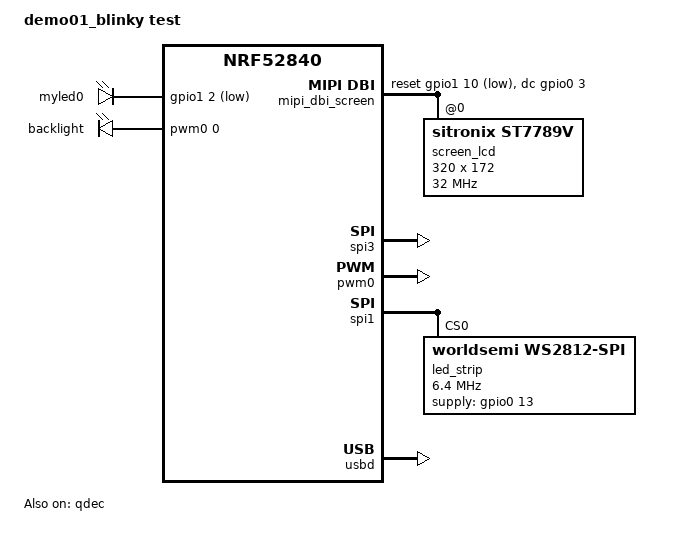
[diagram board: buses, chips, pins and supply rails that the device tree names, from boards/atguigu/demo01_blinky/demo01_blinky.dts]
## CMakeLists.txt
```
# SPDX-License-Identifier: Apache-2.0
cmake_minimum_required(VERSION 3.20.0)

find_package(Zephyr REQUIRED HINTS $ENV{ZEPHYR_BASE})
project(wireless_ecu_console)

target_sources(app PRIVATE
    src/main.c
    src/vehicle_protocol.c
    src/usb_cdc_transport.c
    src/ble_nus_transport.c
)

target_include_directories(app PRIVATE src)
```

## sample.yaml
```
sample:
  name: Wireless ECU Console
  description: nRF52840 vehicle-status console with BLE NUS and USB CDC

tests:
  sample.wireless_ecu_console:
    tags:
      - bluetooth
      - display
      - gpio
      - sensor
    platform_allow:
      - demo01_blinky/nrf52840
    build_only: true
```

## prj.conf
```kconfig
CONFIG_GPIO=y

# SEGGER RTT console
CONFIG_CONSOLE=y
CONFIG_USE_SEGGER_RTT=y
CONFIG_RTT_CONSOLE=y
CONFIG_UART_CONSOLE=n
CONFIG_STDOUT_CONSOLE=y
CONFIG_PRINTK=y

# EC11 hardware quadrature decoder
CONFIG_SENSOR=y
CONFIG_QDEC_NRFX=y
CONFIG_NRFX_QDEC=y

# ST7789 display and PWM backlight
CONFIG_SPI=y
CONFIG_DISPLAY=y
CONFIG_ST7789V=y
CONFIG_ST7789V_RGB565=y
CONFIG_PWM=y
CONFIG_LED=y

# LVGL dashboard
CONFIG_LVGL=y
CONFIG_LV_COLOR_DEPTH_16=y
CONFIG_LV_COLOR_16_SWAP=y
CONFIG_LV_Z_VDB_SIZE=10
CONFIG_LV_USE_LABEL=y
CONFIG_LV_FONT_MONTSERRAT_14=y
CONFIG_LV_FONT_MONTSERRAT_20=y
CONFIG_LV_FONT_MONTSERRAT_28=y
CONFIG_MAIN_STACK_SIZE=4096
CONFIG_LV_Z_MEM_POOL_SIZE=32768

# WS2812 status strip
CONFIG_LED_STRIP=y
CONFIG_WS2812_STRIP_SPI=y

# USB CDC binary transport
CONFIG_USB_DEVICE_STACK_NEXT=y
CONFIG_SERIAL=y
CONFIG_UART_LINE_CTRL=y
CONFIG_USBD_CDC_ACM_CLASS=y
CONFIG_CDC_ACM_SERIAL_INITIALIZE_AT_BOOT=n

# BLE Nordic UART Service
CONFIG_BT=y
CONFIG_BT_PERIPHERAL=y
CONFIG_BT_ZEPHYR_NUS=y
CONFIG_BT_DEVICE_NAME="Wireless ECU Console"
CONFIG_BT_MAX_CONN=1
CONFIG_BT_ATT_TX_COUNT=5
CONFIG_BT_L2CAP_TX_MTU=65
CONFIG_BT_BUF_ACL_RX_SIZE=69
CONFIG_BT_BUF_ACL_TX_SIZE=69
```

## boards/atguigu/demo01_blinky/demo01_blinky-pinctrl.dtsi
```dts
&pinctrl {
	/* EC11 QDEC：A=P0.10，B=P1.06。 */
	encoder_default: encoder_default {
		group1 {
			psels = <NRF_PSEL(QDEC_A, 0, 10)>,
				<NRF_PSEL(QDEC_B, 1, 6)>;
			bias-pull-up;
		};
	};

	encoder_sleep: encoder_sleep {
		group1 {
			psels = <NRF_PSEL(QDEC_A, 0, 10)>,
				<NRF_PSEL(QDEC_B, 1, 6)>;
			low-power-enable;
			bias-pull-up;
		};
	};
    
		spi1_ws2812_default: spi1_ws2812_default {
		group1 {
			psels = <NRF_PSEL(SPIM_SCK, 1, 4)>,
				<NRF_PSEL(SPIM_MOSI, 0, 20)>;
		};
	};

	spi1_ws2812_sleep: spi1_ws2812_sleep {
		group1 {
			psels = <NRF_PSEL(SPIM_SCK, 1, 4)>,
				<NRF_PSEL(SPIM_MOSI, 0, 20)>;
			low-power-enable;
		};
	};
	/* ST7789 SPI3：SCK=P1.13，MOSI=P0.28。 */
	spi3_default: spi3_default {
		group1 {
			psels = <NRF_PSEL(SPIM_SCK, 1, 13)>,
				<NRF_PSEL(SPIM_MOSI, 0, 28)>;
		};
	};

	spi3_sleep: spi3_sleep {
		group1 {
			psels = <NRF_PSEL(SPIM_SCK, 1, 13)>,
				<NRF_PSEL(SPIM_MOSI, 0, 28)>;
			low-power-enable;
		};
	};

	/* LCD背光 PWM0：PWM_OUT0=P1.11。 */
	pwm0_default: pwm0_default {
		group1 {
			psels = <NRF_PSEL(PWM_OUT0, 1, 11)>;
		};
	};

	pwm0_sleep: pwm0_sleep {
		group1 {
			psels = <NRF_PSEL(PWM_OUT0, 1, 11)>;
			low-power-enable;
		};
	};
};
```

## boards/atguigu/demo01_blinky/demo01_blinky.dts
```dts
/dts-v1/;
#include <nordic/nrf52840_qiaa.dtsi>
#include "demo01_blinky-pinctrl.dtsi"
#include <zephyr/dt-bindings/mipi_dbi/mipi_dbi.h>
#include <zephyr/dt-bindings/pwm/pwm.h>
#include <zephyr/dt-bindings/led/led.h>

/ {
	model = "demo01_blinky test";
	compatible = "atguigu,demo01-blinky";

	chosen {
		zephyr,sram = &sram0;
		zephyr,flash = &flash0;
		zephyr,code-partition = &slot0_partition;
		zephyr,display = &screen_lcd;
		zephyr,led-strip = &led_strip;
	};

	// LED
	aliases {
		led0 = &myled0;
		qdec0 = &qdec;
		backlight = &backlight;
		led-strip = &led_strip;
	};

	leds {
		compatible = "gpio-leds";

		// GPIO 1.02 拉低有效
		// myled0: label标签
		myled0: led_0 {
			gpios = <&gpio1 2 GPIO_ACTIVE_LOW>;
		};

  	};
		pwm_leds {
		compatible = "pwm-leds";
		status = "okay";

		backlight: pwm_led_0 {
			pwms = <&pwm0 0 PWM_MSEC(10)
				PWM_POLARITY_INVERTED>;
		};
	};

	mipi_dbi_screen: mipi_dbi_screen {
		compatible = "zephyr,mipi-dbi-spi";
		spi-dev = <&spi3>;
		dc-gpios = <&gpio0 3 GPIO_ACTIVE_HIGH>;
		reset-gpios = <&gpio1 10 GPIO_ACTIVE_LOW>;
		write-only;
		#address-cells = <1>;
		#size-cells = <0>;

		screen_lcd: st7789v@0 {
			compatible = "sitronix,st7789v";
			status = "okay";
			reg = <0>;
			mipi-max-frequency = <32000000>;

			width = <320>;
			height = <172>;
			x-offset = <0>;
			y-offset = <34>;

			vcom = <0x34>;
			gctrl = <0x00>;
			mdac = <0xA0>;
			gamma = <0x01>;
			colmod = <0x05>;
			lcm = <0x2c>;

			porch-param = [0c 0c 00 33 33];
			cmd2en-param = [5a 69 02 01];
			pwctrl1-param = [a4 a1];
			pvgam-param =
				[f0 04 08 0a 0a 05 25 33
				 3c 24 0e 0f 27 2f];
			nvgam-param =
				[f0 02 06 06 04 22 25 32
				 3b 3a 15 17 2d 37];
			ram-param = [00 f0];
			rgb-param = [cd 08 14];

			ready-time-ms = <120>;
			mipi-mode = "MIPI_DBI_MODE_SPI_4WIRE";
		};
	};
};

&flash0 {
	partitions {
		compatible = "fixed-partitions";
		#address-cells = <1>;
		#size-cells = <1>;

		boot_partition: partition@0 {
			label = "mcuboot";
			reg = <0x00000000 DT_SIZE_K(48)>;
		};

		slot0_partition: partition@c000 {
			label = "image-0";
			reg = <0x0000c000 DT_SIZE_K(472)>;
		};

		slot1_partition: partition@82000 {
			label = "image-1";
			reg = <0x00082000 DT_SIZE_K(472)>;
		};

		storage_partition: partition@f8000 {
			label = "storage";
			reg = <0x000f8000 DT_SIZE_K(32)>;
		};
	};
};
// 开启GPIO外设
&gpio1 {
	status = "okay";
};
// task event
&gpiote {
	status = "okay";
};
&qdec {
	status = "okay";

	pinctrl-0 = <&encoder_default>;
	pinctrl-1 = <&encoder_sleep>;
	pinctrl-names = "default", "sleep";

	led-pre = <0>;
	steps = <80>;
	nordic,period = "SAMPLEPER_1024US";
};
&uicr {
	nfct-pins-as-gpios;
};
/* 开启 P0.xx GPIO，用于键盘矩阵 */
&gpio0 {
	status = "okay";
};
&spi3 {
	status = "okay";
	pinctrl-0 = <&spi3_default>;
	pinctrl-1 = <&spi3_sleep>;
	pinctrl-names = "default", "sleep";
	cs-gpios = <&gpio0 2 GPIO_ACTIVE_LOW>;
};

&pwm0 {
	status = "okay";
	pinctrl-0 = <&pwm0_default>;
	pinctrl-1 = <&pwm0_sleep>;
	pinctrl-names = "default", "sleep";
};
&spi1 {
	status = "okay";

	pinctrl-0 = <&spi1_ws2812_default>;
	pinctrl-1 = <&spi1_ws2812_sleep>;
	pinctrl-names = "default", "sleep";

	led_strip: ws2812@0 {
		compatible = "worldsemi,ws2812-spi";
		status = "okay";
		reg = <0>;

		spi-max-frequency = <6400000>;
		chain-length = <17>;

		color-mapping = <LED_COLOR_ID_GREEN
				 LED_COLOR_ID_RED
				 LED_COLOR_ID_BLUE>;

		spi-one-frame = <0x70>;
		spi-zero-frame = <0x40>;
		bits-per-symbol = <8>;
		reset-delay = <8>;

		supply-gpios = <&gpio0 13 GPIO_ACTIVE_HIGH>;
	};
};
/* M5.2：USB CDC虚拟串口 */
&usbd {
	status = "okay";

	num-bidir-endpoints = <1>;
	num-in-endpoints = <7>;
	num-out-endpoints = <7>;
	num-isoin-endpoints = <0>;
	num-isoout-endpoints = <0>;

	cdc_acm_uart0: cdc_acm_uart0 {
		compatible = "zephyr,cdc-acm-uart";
		label = "CDC_ACM_0";
	};
};
```

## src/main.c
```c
#include <zephyr/kernel.h>
#include <zephyr/device.h>
#include <zephyr/drivers/display.h>
#include <zephyr/drivers/gpio.h>
#include <zephyr/drivers/led.h>
#include <zephyr/drivers/led_strip.h>
#include <zephyr/drivers/sensor.h>
#include <zephyr/sys/printk.h>

#include <lvgl.h>

#include <errno.h>
#include <stdbool.h>
#include <stddef.h>
#include <stdint.h>
#include <stdio.h>
#include <string.h>

#include "vehicle_protocol.h"
#include "usb_cdc_transport.h"
#include "ble_nus_transport.h"

#define LED0_NODE DT_ALIAS(led0)
#define QDEC_NODE DT_ALIAS(qdec0)
#define GPIO0_NODE DT_NODELABEL(gpio0)
#define DISPLAY_NODE DT_CHOSEN(zephyr_display)
#define BACKLIGHT_NODE DT_ALIAS(backlight)
#define LED_STRIP_NODE DT_CHOSEN(zephyr_led_strip)
#define LED_STRIP_NUM_PIXELS DT_PROP(LED_STRIP_NODE, chain_length)

#define HIGH_RPM_THRESHOLD      5000U
#define OVER_TEMP_THRESHOLD     100

#define RPM_STEP                100
#define RPM_MIN                 0
#define RPM_MAX                 8000

#define TEMP_STEP               5
#define TEMP_MIN                (-40)
#define TEMP_MAX                150

#define ENCODER_STEPS_PER_REV   80LL
#define PULSES_PER_DETENT       4LL

#define DETENT_ANGLE_UDEG \
	(360000000LL / (ENCODER_STEPS_PER_REV / PULSES_PER_DETENT))

/* 键盘矩阵：当前控制功能都位于COL3。 */
#define MATRIX_COL3_PIN          30U
#define ENCODER_BUTTON_ROW_PIN   15U
#define TEMP_MINUS_ROW_PIN        7U
#define TEMP_PLUS_ROW_PIN         4U

#define KEY_DEBOUNCE_MS          30
#define MAIN_LOOP_PERIOD_MS      10
#define HEARTBEAT_PERIOD_MS      500
#define PROTOCOL_HEARTBEAT_MS    500

/* M4.2灯效参数：亮度较低，兼顾观感和供电余量。 */
#define STRIP_NORMAL_BRIGHTNESS   28U
#define STRIP_WARNING_BRIGHTNESS  32U
#define STRIP_CRITICAL_BRIGHTNESS 40U
#define STRIP_BREATH_MIN           4U
#define STRIP_BREATH_MAX          36U
#define STRIP_BREATH_STEP          1U
#define STRIP_BREATH_TICK_MS       40
#define STRIP_CRITICAL_BLINK_MS   250

BUILD_ASSERT(DT_NODE_HAS_STATUS(QDEC_NODE, okay),
	     "QDEC node is missing or disabled");
BUILD_ASSERT(DT_NODE_HAS_STATUS(GPIO0_NODE, okay),
	     "GPIO0 node is missing or disabled");
BUILD_ASSERT(DT_HAS_CHOSEN(zephyr_display),
	     "Missing zephyr,display chosen node");
BUILD_ASSERT(DT_NODE_HAS_STATUS(BACKLIGHT_NODE, okay),
	     "Backlight node is missing or disabled");
BUILD_ASSERT(DT_NODE_HAS_STATUS(LED_STRIP_NODE, okay),
	     "Missing zephyr,led-strip chosen node");
BUILD_ASSERT(DT_NODE_HAS_PROP(LED_STRIP_NODE, supply_gpios),
	     "Missing supply-gpios on LED strip node");
BUILD_ASSERT(LED_STRIP_NUM_PIXELS == 17U,
	     "This application expects 17 WS2812 pixels");

static const struct gpio_dt_spec led =
	GPIO_DT_SPEC_GET(LED0_NODE, gpios);

static const struct device *const qdec =
	DEVICE_DT_GET(QDEC_NODE);

static const struct device *const gpio0 =
	DEVICE_DT_GET(GPIO0_NODE);

static const struct device *const display_dev =
	DEVICE_DT_GET(DISPLAY_NODE);

static const struct device *const backlight_dev =
	DEVICE_DT_GET(DT_PARENT(BACKLIGHT_NODE));

static const uint32_t backlight_index =
	DT_NODE_CHILD_IDX(BACKLIGHT_NODE);

static const struct device *const led_strip_dev =
	DEVICE_DT_GET(LED_STRIP_NODE);

static const struct gpio_dt_spec led_strip_en =
	GPIO_DT_SPEC_GET(LED_STRIP_NODE, supply_gpios);

static struct led_rgb led_strip_pixels[LED_STRIP_NUM_PIXELS];

enum vehicle_state {
	VEHICLE_NORMAL,
	VEHICLE_HIGH_RPM,
	VEHICLE_OVER_TEMP,
	VEHICLE_CRITICAL
};

struct led_effect_state {
	enum vehicle_state vehicle_state;
	int64_t last_tick_ms;
	uint8_t breath_brightness;
	int8_t breath_direction;
	bool critical_on;
	bool initialized;
};

static struct led_effect_state led_effect;

struct vehicle_data {
	uint16_t rpm;
	int16_t temperature_c;
	bool fault_active;
	enum vehicle_state state;
};

enum console_key_id {
	CONSOLE_KEY_ENCODER,
	CONSOLE_KEY_TEMP_MINUS,
	CONSOLE_KEY_TEMP_PLUS,
	CONSOLE_KEY_COUNT
};

struct console_key {
	const char *name;
	gpio_pin_t row_pin;
	bool raw_pressed;
	bool stable_pressed;
	int64_t raw_changed_ms;
};

struct dashboard_ui {
	lv_obj_t *rpm_value;
	lv_obj_t *temp_value;
	lv_obj_t *state_panel;
	lv_obj_t *state_value;
	lv_obj_t *fault_value;
};

static struct console_key console_keys[CONSOLE_KEY_COUNT] = {
	[CONSOLE_KEY_ENCODER] = {
		.name = "ENCODER_BUTTON",
		.row_pin = ENCODER_BUTTON_ROW_PIN,
	},
	[CONSOLE_KEY_TEMP_MINUS] = {
		.name = "TEMP_MINUS",
		.row_pin = TEMP_MINUS_ROW_PIN,
	},
	[CONSOLE_KEY_TEMP_PLUS] = {
		.name = "TEMP_PLUS",
		.row_pin = TEMP_PLUS_ROW_PIN,
	},
};

static struct dashboard_ui dashboard;

static enum vehicle_state evaluate_vehicle_state(
	const struct vehicle_data *vehicle)
{
	bool high_rpm = vehicle->rpm >= HIGH_RPM_THRESHOLD;
	bool over_temp =
		vehicle->temperature_c >= OVER_TEMP_THRESHOLD;

	if (vehicle->fault_active || (high_rpm && over_temp)) {
		return VEHICLE_CRITICAL;
	}

	if (high_rpm) {
		return VEHICLE_HIGH_RPM;
	}

	if (over_temp) {
		return VEHICLE_OVER_TEMP;
	}

	return VEHICLE_NORMAL;
}

static const char *vehicle_state_to_string(enum vehicle_state state)
{
	switch (state) {
	case VEHICLE_NORMAL:
		return "NORMAL";
	case VEHICLE_HIGH_RPM:
		return "HIGH RPM";
	case VEHICLE_OVER_TEMP:
		return "OVER TEMP";
	case VEHICLE_CRITICAL:
		return "CRITICAL";
	default:
		return "UNKNOWN";
	}
}

static void print_vehicle_status(
	const char *source,
	const struct vehicle_data *vehicle)
{
	printk("%s | RPM: %u | TEMP: %d C | FAULT: %d | STATE: %s\n",
	       source,
	       (unsigned int)vehicle->rpm,
	       (int)vehicle->temperature_c,
	       vehicle->fault_active ? 1 : 0,
	       vehicle_state_to_string(vehicle->state));
}

static int64_t sensor_value_to_udeg(
	const struct sensor_value *value)
{
	return ((int64_t)value->val1 * 1000000LL) + value->val2;
}

static uint16_t clamp_rpm(int32_t rpm)
{
	if (rpm < RPM_MIN) {
		return RPM_MIN;
	}

	if (rpm > RPM_MAX) {
		return RPM_MAX;
	}

	return (uint16_t)rpm;
}

static int16_t clamp_temperature(int32_t temperature)
{
	if (temperature < TEMP_MIN) {
		return TEMP_MIN;
	}

	if (temperature > TEMP_MAX) {
		return TEMP_MAX;
	}

	return (int16_t)temperature;
}

static int console_keys_init(void)
{
	int ret;

	if (!device_is_ready(gpio0)) {
		printk("ERROR: GPIO0 device is not ready\n");
		return -ENODEV;
	}

	ret = gpio_pin_configure(
		gpio0,
		MATRIX_COL3_PIN,
		GPIO_OUTPUT_HIGH);

	if (ret < 0) {
		printk("ERROR: COL3 configuration failed: %d\n", ret);
		return ret;
	}

	for (size_t i = 0; i < CONSOLE_KEY_COUNT; i++) {
		ret = gpio_pin_configure(
			gpio0,
			console_keys[i].row_pin,
			GPIO_INPUT | GPIO_PULL_DOWN);

		if (ret < 0) {
			printk("ERROR: %s configuration failed: %d\n",
			       console_keys[i].name,
			       ret);
			return ret;
		}
	}

	printk("MATRIX ready: ENCODER_BUTTON / TEMP_MINUS / TEMP_PLUS\n");
	return 0;
}

static bool console_key_pressed_event(
	struct console_key *key,
	int64_t now_ms)
{
	int value = gpio_pin_get(gpio0, key->row_pin);
	bool pressed;

	if (value < 0) {
		return false;
	}

	pressed = value != 0;

	if (pressed != key->raw_pressed) {
		key->raw_pressed = pressed;
		key->raw_changed_ms = now_ms;
	}

	if ((pressed != key->stable_pressed) &&
	    ((now_ms - key->raw_changed_ms) >= KEY_DEBOUNCE_MS)) {
		key->stable_pressed = pressed;
		return pressed;
	}

	return false;
}

static int led_strip_show_rgb(uint8_t red, uint8_t green, uint8_t blue)
{
	for (size_t i = 0; i < LED_STRIP_NUM_PIXELS; i++) {
		led_strip_pixels[i].r = red;
		led_strip_pixels[i].g = green;
		led_strip_pixels[i].b = blue;
	}

	return led_strip_update_rgb(
		led_strip_dev,
		led_strip_pixels,
		LED_STRIP_NUM_PIXELS);
}

static int led_strip_render_state(enum vehicle_state state)
{
	switch (state) {
	case VEHICLE_NORMAL:
		return led_strip_show_rgb(
			0,
			STRIP_NORMAL_BRIGHTNESS,
			0);

	case VEHICLE_HIGH_RPM:
		return led_strip_show_rgb(
			STRIP_WARNING_BRIGHTNESS,
			STRIP_WARNING_BRIGHTNESS,
			0);

	case VEHICLE_OVER_TEMP:
		/* 橙色：红色为主，绿色约为三分之一。 */
		return led_strip_show_rgb(
			led_effect.breath_brightness,
			led_effect.breath_brightness / 3U,
			0);

	case VEHICLE_CRITICAL:
		if (led_effect.critical_on) {
			return led_strip_show_rgb(
				STRIP_CRITICAL_BRIGHTNESS,
				0,
				0);
		}

		return led_strip_show_rgb(0, 0, 0);

	default:
		return -EINVAL;
	}
}

static int led_strip_set_vehicle_state(
	enum vehicle_state state,
	int64_t now_ms)
{
	int ret;

	led_effect.vehicle_state = state;
	led_effect.last_tick_ms = now_ms;
	led_effect.breath_brightness = STRIP_BREATH_MIN;
	led_effect.breath_direction = 1;
	led_effect.critical_on = true;
	led_effect.initialized = true;

	ret = led_strip_render_state(state);
	if (ret == 0) {
		printk("LED EFFECT: %s\n", vehicle_state_to_string(state));
	}

	return ret;
}

static int led_strip_effect_tick(int64_t now_ms)
{
	int ret = 0;

	if (!led_effect.initialized) {
		return -EACCES;
	}

	switch (led_effect.vehicle_state) {
	case VEHICLE_NORMAL:
	case VEHICLE_HIGH_RPM:
		/* 常亮状态无需周期刷新。 */
		break;

	case VEHICLE_OVER_TEMP:
		if ((now_ms - led_effect.last_tick_ms) >=
		    STRIP_BREATH_TICK_MS) {
			int16_t next_brightness =
				(int16_t)led_effect.breath_brightness +
				((int16_t)led_effect.breath_direction *
				 (int16_t)STRIP_BREATH_STEP);

			if (next_brightness >=
			    (int16_t)STRIP_BREATH_MAX) {
				next_brightness = STRIP_BREATH_MAX;
				led_effect.breath_direction = -1;
			} else if (next_brightness <=
				   (int16_t)STRIP_BREATH_MIN) {
				next_brightness = STRIP_BREATH_MIN;
				led_effect.breath_direction = 1;
			}

			led_effect.breath_brightness =
				(uint8_t)next_brightness;
			ret = led_strip_render_state(VEHICLE_OVER_TEMP);
			led_effect.last_tick_ms = now_ms;
		}
		break;

	case VEHICLE_CRITICAL:
		if ((now_ms - led_effect.last_tick_ms) >=
		    STRIP_CRITICAL_BLINK_MS) {
			led_effect.critical_on = !led_effect.critical_on;
			ret = led_strip_render_state(VEHICLE_CRITICAL);
			led_effect.last_tick_ms = now_ms;
		}
		break;

	default:
		ret = -EINVAL;
		break;
	}

	return ret;
}

static int led_strip_effect_init(enum vehicle_state initial_state)
{
	int ret;

	if (!device_is_ready(led_strip_dev)) {
		printk("ERROR: LED strip device is not ready\n");
		return -ENODEV;
	}

	if (!gpio_is_ready_dt(&led_strip_en)) {
		printk("ERROR: LED strip power GPIO is not ready\n");
		return -ENODEV;
	}

	ret = gpio_pin_configure_dt(&led_strip_en, GPIO_OUTPUT_INACTIVE);
	if (ret < 0) {
		printk("ERROR: LED strip power GPIO configuration failed: %d\n",
		       ret);
		return ret;
	}

	memset(led_strip_pixels, 0, sizeof(led_strip_pixels));

	ret = gpio_pin_set_dt(&led_strip_en, 1);
	if (ret < 0) {
		printk("ERROR: LED strip power enable failed: %d\n", ret);
		return ret;
	}

	/* 给灯带电源留出稳定时间。 */
	k_sleep(K_MSEC(5));

	memset(&led_effect, 0, sizeof(led_effect));
	ret = led_strip_set_vehicle_state(
		initial_state,
		k_uptime_get());
	if (ret < 0) {
		printk("ERROR: Initial LED effect update failed: %d\n", ret);
		return ret;
	}

	printk("LED STRIP ready: %u pixels\n",
	       (unsigned int)LED_STRIP_NUM_PIXELS);
	return 0;
}

static void dashboard_style_panel(lv_obj_t *panel)
{
	lv_obj_set_style_bg_color(
		panel, lv_color_hex(0x172033), LV_PART_MAIN);
	lv_obj_set_style_bg_opa(panel, LV_OPA_COVER, LV_PART_MAIN);
	lv_obj_set_style_border_color(
		panel, lv_color_hex(0x34415C), LV_PART_MAIN);
	lv_obj_set_style_border_width(panel, 1, LV_PART_MAIN);
	lv_obj_set_style_radius(panel, 8, LV_PART_MAIN);
	lv_obj_set_style_pad_all(panel, 0, LV_PART_MAIN);
	lv_obj_remove_flag(panel, LV_OBJ_FLAG_SCROLLABLE);
}

static lv_obj_t *dashboard_create_caption(
	lv_obj_t *parent,
	const char *text)
{
	lv_obj_t *label = lv_label_create(parent);

	lv_label_set_text(label, text);
	lv_obj_set_style_text_color(
		label, lv_color_hex(0x8FA2BF), LV_PART_MAIN);
	lv_obj_set_style_text_font(
		label, &lv_font_montserrat_14, LV_PART_MAIN);
	lv_obj_set_pos(label, 10, 7);

	return label;
}

static void dashboard_update(const struct vehicle_data *vehicle)
{
	char rpm_text[24];
	char temp_text[24];
	char fault_text[24];
	lv_color_t state_color;
	lv_color_t state_text_color;

	snprintf(rpm_text, sizeof(rpm_text), "%u RPM",
		 (unsigned int)vehicle->rpm);
	snprintf(temp_text, sizeof(temp_text), "%d C",
		 (int)vehicle->temperature_c);
	snprintf(fault_text, sizeof(fault_text), "FAULT: %s",
		 vehicle->fault_active ? "ON" : "OFF");

	lv_label_set_text(dashboard.rpm_value, rpm_text);
	lv_label_set_text(dashboard.temp_value, temp_text);
	lv_label_set_text(
		dashboard.state_value,
		vehicle_state_to_string(vehicle->state));
	lv_label_set_text(dashboard.fault_value, fault_text);

	switch (vehicle->state) {
	case VEHICLE_NORMAL:
		state_color = lv_color_hex(0x159A55);
		state_text_color = lv_color_hex(0xFFFFFF);
		break;
	case VEHICLE_HIGH_RPM:
		state_color = lv_color_hex(0xF2C230);
		state_text_color = lv_color_hex(0x111827);
		break;
	case VEHICLE_OVER_TEMP:
		state_color = lv_color_hex(0xF07A28);
		state_text_color = lv_color_hex(0x111827);
		break;
	case VEHICLE_CRITICAL:
	default:
		state_color = lv_color_hex(0xD9363E);
		state_text_color = lv_color_hex(0xFFFFFF);
		break;
	}

	lv_obj_set_style_bg_color(
		dashboard.state_panel, state_color, LV_PART_MAIN);
	lv_obj_set_style_text_color(
		dashboard.state_value, state_text_color, LV_PART_MAIN);
	lv_obj_set_style_text_color(
		dashboard.fault_value, state_text_color, LV_PART_MAIN);
}

static int dashboard_init(const struct vehicle_data *vehicle)
{
	struct display_capabilities capabilities;
	lv_obj_t *screen;
	lv_obj_t *title;
	lv_obj_t *live;
	lv_obj_t *rpm_panel;
	lv_obj_t *temp_panel;
	int ret;

	if (!device_is_ready(display_dev)) {
		printk("ERROR: Display device is not ready\n");
		return -ENODEV;
	}

	if (!device_is_ready(backlight_dev)) {
		printk("ERROR: Backlight device is not ready\n");
		return -ENODEV;
	}

	display_get_capabilities(display_dev, &capabilities);
	printk("DISPLAY ready: %u x %u | pixel format: 0x%x\n",
	       capabilities.x_resolution,
	       capabilities.y_resolution,
	       capabilities.current_pixel_format);

	ret = led_set_brightness(backlight_dev, backlight_index, 0);
	if (ret < 0) {
		printk("ERROR: Backlight off failed: %d\n", ret);
		return ret;
	}

	screen = lv_screen_active();
	lv_obj_remove_flag(screen, LV_OBJ_FLAG_SCROLLABLE);
	lv_obj_set_style_bg_color(
		screen, lv_color_hex(0x090E18), LV_PART_MAIN);
	lv_obj_set_style_bg_opa(screen, LV_OPA_COVER, LV_PART_MAIN);
	lv_obj_set_style_pad_all(screen, 0, LV_PART_MAIN);

	title = lv_label_create(screen);
	lv_label_set_text(title, "WIRELESS ECU");
	lv_obj_set_style_text_color(
		title, lv_color_hex(0xF2F6FF), LV_PART_MAIN);
	lv_obj_set_style_text_font(
		title, &lv_font_montserrat_20, LV_PART_MAIN);
	lv_obj_set_pos(title, 8, 4);

	live = lv_label_create(screen);
	lv_label_set_text(live, "LIVE");
	lv_obj_set_style_text_color(
		live, lv_color_hex(0x4ADE80), LV_PART_MAIN);
	lv_obj_set_style_text_font(
		live, &lv_font_montserrat_14, LV_PART_MAIN);
	lv_obj_align(live, LV_ALIGN_TOP_RIGHT, -9, 8);

	rpm_panel = lv_obj_create(screen);
	lv_obj_set_size(rpm_panel, 150, 78);
	lv_obj_set_pos(rpm_panel, 6, 34);
	dashboard_style_panel(rpm_panel);
	dashboard_create_caption(rpm_panel, "ENGINE SPEED");

	dashboard.rpm_value = lv_label_create(rpm_panel);
	lv_obj_set_style_text_color(
		dashboard.rpm_value,
		lv_color_hex(0xF2F6FF),
		LV_PART_MAIN);
	lv_obj_set_style_text_font(
		dashboard.rpm_value,
		&lv_font_montserrat_28,
		LV_PART_MAIN);
	lv_obj_align(dashboard.rpm_value, LV_ALIGN_BOTTOM_MID, 0, -10);

	temp_panel = lv_obj_create(screen);
	lv_obj_set_size(temp_panel, 152, 78);
	lv_obj_set_pos(temp_panel, 162, 34);
	dashboard_style_panel(temp_panel);
	dashboard_create_caption(temp_panel, "TEMPERATURE");

	dashboard.temp_value = lv_label_create(temp_panel);
	lv_obj_set_style_text_color(
		dashboard.temp_value,
		lv_color_hex(0xF2F6FF),
		LV_PART_MAIN);
	lv_obj_set_style_text_font(
		dashboard.temp_value,
		&lv_font_montserrat_28,
		LV_PART_MAIN);
	lv_obj_align(dashboard.temp_value, LV_ALIGN_BOTTOM_MID, 0, -10);

	dashboard.state_panel = lv_obj_create(screen);
	lv_obj_set_size(dashboard.state_panel, 308, 48);
	lv_obj_set_pos(dashboard.state_panel, 6, 118);
	lv_obj_set_style_border_width(
		dashboard.state_panel, 0, LV_PART_MAIN);
	lv_obj_set_style_radius(
		dashboard.state_panel, 8, LV_PART_MAIN);
	lv_obj_set_style_pad_all(
		dashboard.state_panel, 0, LV_PART_MAIN);
	lv_obj_remove_flag(
		dashboard.state_panel, LV_OBJ_FLAG_SCROLLABLE);

	dashboard.state_value = lv_label_create(dashboard.state_panel);
	lv_obj_set_style_text_font(
		dashboard.state_value,
		&lv_font_montserrat_20,
		LV_PART_MAIN);
	lv_obj_align(dashboard.state_value, LV_ALIGN_LEFT_MID, 12, 0);

	dashboard.fault_value = lv_label_create(dashboard.state_panel);
	lv_obj_set_style_text_font(
		dashboard.fault_value,
		&lv_font_montserrat_14,
		LV_PART_MAIN);
	lv_obj_align(dashboard.fault_value, LV_ALIGN_RIGHT_MID, -12, 0);

	dashboard_update(vehicle);
	lv_timer_handler();

	ret = display_blanking_off(display_dev);
	if (ret < 0) {
		printk("ERROR: Display blanking off failed: %d\n", ret);
		return ret;
	}

	ret = led_set_brightness(backlight_dev, backlight_index, 100);
	if (ret < 0) {
		printk("ERROR: Backlight on failed: %d\n", ret);
		return ret;
	}

	printk("DASHBOARD ready\n");
	return 0;
}

static bool handle_console_key(
	enum console_key_id key_id,
	struct vehicle_data *vehicle)
{
	switch (key_id) {
	case CONSOLE_KEY_ENCODER:
		vehicle->fault_active = !vehicle->fault_active;
		break;
	case CONSOLE_KEY_TEMP_MINUS:
		vehicle->temperature_c =
			clamp_temperature(
				(int32_t)vehicle->temperature_c - TEMP_STEP);
		break;
	case CONSOLE_KEY_TEMP_PLUS:
		vehicle->temperature_c =
			clamp_temperature(
				(int32_t)vehicle->temperature_c + TEMP_STEP);
		break;
	default:
		return false;
	}

	vehicle->state = evaluate_vehicle_state(vehicle);
	print_vehicle_status(console_keys[key_id].name, vehicle);
	return true;
}

static bool protocol_send(
	const char *reason,
	const struct vehicle_data *vehicle,
	uint16_t *sequence)
{
	struct vehicle_status_message message;
	uint8_t frame[VEHICLE_STATUS_FRAME_SIZE];
	size_t frame_length;
	uint16_t sent_sequence;
	int cdc_result;
	int ble_result;

	if ((reason == NULL) || (vehicle == NULL) || (sequence == NULL)) {
		return false;
	}

	sent_sequence = *sequence;
	message.sequence = sent_sequence;
	message.rpm = vehicle->rpm;
	message.temperature_c = vehicle->temperature_c;
	message.state = (uint8_t)vehicle->state;
	message.fault_active = vehicle->fault_active;

	frame_length = vehicle_protocol_encode_status(
		frame,
		sizeof(frame),
		&message);
	if (frame_length == 0U) {
		printk("ERROR: Vehicle protocol encoding failed\n");
		return false;
	}

	cdc_result = usb_cdc_transport_send(frame, frame_length);
	ble_result = ble_nus_transport_send(frame, frame_length);

	printk("PROTO TX %-9s SEQ:%u USB:",
	       reason,
	       (unsigned int)sent_sequence);

	if (cdc_result == 0) {
		printk("SENT ");
	} else if (cdc_result == -ENOTCONN) {
		printk("WAIT ");
	} else {
		printk("ERROR(%d) ", cdc_result);
	}

	printk("BLE:");
	if (ble_result == 0) {
		printk("SENT FRAME:");
	} else if (ble_result == -ENOTCONN) {
		printk("WAIT FRAME:");
	} else {
		printk("ERROR(%d) FRAME:", ble_result);
	}

	for (size_t i = 0; i < frame_length; i++) {
		printk(" %02X", frame[i]);
	}

	printk("\n");
	(*sequence)++;
	return true;
}

int main(void)
{
	struct vehicle_data vehicle = {
		.rpm = 800,
		.temperature_c = 35,
		.fault_active = false,
		.state = VEHICLE_NORMAL
	};
	int64_t angle_remainder_udeg = 0;
	int64_t last_heartbeat_ms;
	int64_t last_protocol_tx_ms;
	uint16_t protocol_sequence = 0U;
	int ret;

	if (!gpio_is_ready_dt(&led)) {
		printk("ERROR: LED device is not ready\n");
		return 0;
	}

	ret = gpio_pin_configure_dt(&led, GPIO_OUTPUT_INACTIVE);
	if (ret < 0) {
		printk("ERROR: LED configuration failed: %d\n", ret);
		return 0;
	}

	if (!device_is_ready(qdec)) {
		printk("ERROR: QDEC device is not ready\n");
		return 0;
	}

	ret = console_keys_init();
	if (ret < 0) {
		return 0;
	}

	vehicle.state = evaluate_vehicle_state(&vehicle);

	ret = dashboard_init(&vehicle);
	if (ret < 0) {
		return 0;
	}

	ret = led_strip_effect_init(vehicle.state);
	if (ret < 0) {
		return 0;
	}

	ret = usb_cdc_transport_init();
	if (ret < 0) {
		return 0;
	}

	ret = ble_nus_transport_init();
	if (ret < 0) {
		return 0;
	}

	last_heartbeat_ms = k_uptime_get();

	printk("\nWireless ECU Console started\n");
	printk("QDEC ready: P0.10 / P1.06\n");
	print_vehicle_status("START", &vehicle);
	(void)protocol_send(
		"START",
		&vehicle,
		&protocol_sequence);
	last_protocol_tx_ms = k_uptime_get();

	while (1) {
		struct sensor_value rotation;
		int64_t now_ms;
		bool vehicle_changed = false;

		ret = sensor_sample_fetch(qdec);
		if (ret == 0) {
			ret = sensor_channel_get(
				qdec,
				SENSOR_CHAN_ROTATION,
				&rotation);
		}

		if (ret == 0) {
			int64_t total_udeg =
				angle_remainder_udeg +
				sensor_value_to_udeg(&rotation);
			int32_t detents =
				(int32_t)(total_udeg / DETENT_ANGLE_UDEG);

			angle_remainder_udeg =
				total_udeg -
				((int64_t)detents * DETENT_ANGLE_UDEG);

			if (detents != 0) {
				int32_t new_rpm =
					(int32_t)vehicle.rpm +
					(detents * RPM_STEP);

				vehicle.rpm = clamp_rpm(new_rpm);
				vehicle.state =
					evaluate_vehicle_state(&vehicle);
				vehicle_changed = true;

				printk("ENCODER: %d | RPM: %u | "
				       "TEMP: %d C | FAULT: %d | STATE: %s\n",
				       detents,
				       (unsigned int)vehicle.rpm,
				       (int)vehicle.temperature_c,
				       vehicle.fault_active ? 1 : 0,
				       vehicle_state_to_string(vehicle.state));
			}
		}

		now_ms = k_uptime_get();

		for (size_t i = 0; i < CONSOLE_KEY_COUNT; i++) {
			if (console_key_pressed_event(
				    &console_keys[i], now_ms)) {
				vehicle_changed |= handle_console_key(
					(enum console_key_id)i,
					&vehicle);
			}
		}

		if (vehicle_changed) {
			dashboard_update(&vehicle);

			if (vehicle.state != led_effect.vehicle_state) {
				ret = led_strip_set_vehicle_state(
					vehicle.state,
					now_ms);
				if (ret < 0) {
					printk("ERROR: LED effect state update failed: %d\n",
					       ret);
				}
			}

			if (protocol_send(
				    "CHANGE",
				    &vehicle,
				    &protocol_sequence)) {
				last_protocol_tx_ms = now_ms;
			}
		}

		ret = led_strip_effect_tick(now_ms);
		if (ret < 0) {
			printk("ERROR: LED effect tick failed: %d\n", ret);
		}

		if ((now_ms - last_protocol_tx_ms) >=
		    PROTOCOL_HEARTBEAT_MS) {
			if (protocol_send(
				    "HEARTBEAT",
				    &vehicle,
				    &protocol_sequence)) {
				last_protocol_tx_ms = now_ms;
			}
		}

		lv_timer_handler();

		if ((now_ms - last_heartbeat_ms) >=
		    HEARTBEAT_PERIOD_MS) {
			gpio_pin_toggle_dt(&led);
			last_heartbeat_ms = now_ms;
		}

		k_sleep(K_MSEC(MAIN_LOOP_PERIOD_MS));
	}

	return 0;
}
```

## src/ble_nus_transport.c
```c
#include "ble_nus_transport.h"

#include <zephyr/bluetooth/bluetooth.h>
#include <zephyr/bluetooth/conn.h>
#include <zephyr/bluetooth/services/nus.h>
#include <zephyr/kernel.h>
#include <zephyr/sys/printk.h>
#include <zephyr/sys/util.h>

#include <errno.h>
#include <limits.h>

static struct bt_conn *active_conn;
static bool notifications_enabled;
static struct k_mutex transport_lock;
static struct k_work advertising_work;

static const struct bt_data advertising_data[] = {
	BT_DATA_BYTES(BT_DATA_FLAGS,
		      BT_LE_AD_GENERAL | BT_LE_AD_NO_BREDR),
	BT_DATA_BYTES(BT_DATA_UUID128_ALL, BT_UUID_NUS_SRV_VAL),
};

static const struct bt_data scan_response_data[] = {
	BT_DATA(BT_DATA_NAME_COMPLETE,
		CONFIG_BT_DEVICE_NAME,
		sizeof(CONFIG_BT_DEVICE_NAME) - 1U),
};

static int advertising_start(void)
{
	int ret = bt_le_adv_start(BT_LE_ADV_CONN_FAST_1,
				  advertising_data,
				  ARRAY_SIZE(advertising_data),
				  scan_response_data,
				  ARRAY_SIZE(scan_response_data));

	if ((ret == 0) || (ret == -EALREADY)) {
		if (ret == 0) {
			printk("BLE NUS advertising: %s\n",
			       CONFIG_BT_DEVICE_NAME);
		}
		return 0;
	}

	printk("ERROR: BLE advertising failed: %d\n", ret);
	return ret;
}

static void advertising_work_handler(struct k_work *work)
{
	ARG_UNUSED(work);
	(void)advertising_start();
}

static void connected(struct bt_conn *conn, uint8_t error)
{
	if (error != 0U) {
		printk("ERROR: BLE connection failed: %u\n", error);
		(void)k_work_submit(&advertising_work);
		return;
	}

	k_mutex_lock(&transport_lock, K_FOREVER);
	if (active_conn == NULL) {
		active_conn = bt_conn_ref(conn);
	}
	notifications_enabled = false;
	k_mutex_unlock(&transport_lock);

	printk("BLE NUS connected; waiting for TX subscription\n");
}

static void disconnected(struct bt_conn *conn, uint8_t reason)
{
	k_mutex_lock(&transport_lock, K_FOREVER);
	if (active_conn == conn) {
		bt_conn_unref(active_conn);
		active_conn = NULL;
	}
	notifications_enabled = false;
	k_mutex_unlock(&transport_lock);

	printk("BLE NUS disconnected: 0x%02X\n", reason);
	(void)k_work_submit(&advertising_work);
}

BT_CONN_CB_DEFINE(ble_connection_callbacks) = {
	.connected = connected,
	.disconnected = disconnected,
};

static void notification_changed(bool enabled, void *context)
{
	ARG_UNUSED(context);

	k_mutex_lock(&transport_lock, K_FOREVER);
	notifications_enabled = enabled && (active_conn != NULL);
	k_mutex_unlock(&transport_lock);

	printk("BLE NUS notifications: %s\n",
	       enabled ? "ENABLED" : "DISABLED");
}

static void data_received(struct bt_conn *conn,
			  const void *data,
			  uint16_t length,
			  void *context)
{
	ARG_UNUSED(conn);
	ARG_UNUSED(data);
	ARG_UNUSED(context);

	/* M5.3只验证状态上行；下行控制在后续阶段实现。 */
	printk("BLE NUS RX ignored: %u bytes\n", (unsigned int)length);
}

static struct bt_nus_cb nus_callbacks = {
	.notif_enabled = notification_changed,
	.received = data_received,
};

int ble_nus_transport_init(void)
{
	int ret;

	active_conn = NULL;
	notifications_enabled = false;
	k_mutex_init(&transport_lock);
	k_work_init(&advertising_work, advertising_work_handler);

	ret = bt_nus_cb_register(&nus_callbacks, NULL);
	if (ret < 0) {
		printk("ERROR: BLE NUS callback registration failed: %d\n", ret);
		return ret;
	}

	ret = bt_enable(NULL);
	if (ret < 0) {
		printk("ERROR: Bluetooth initialization failed: %d\n", ret);
		return ret;
	}

	ret = advertising_start();
	if (ret < 0) {
		return ret;
	}

	printk("BLE NUS initialized\n");
	return 0;
}

bool ble_nus_transport_is_ready(void)
{
	bool ready;

	k_mutex_lock(&transport_lock, K_FOREVER);
	ready = (active_conn != NULL) && notifications_enabled;
	k_mutex_unlock(&transport_lock);

	return ready;
}

int ble_nus_transport_send(const uint8_t *data, size_t length)
{
	struct bt_conn *connection;
	int ret;

	if ((data == NULL) && (length != 0U)) {
		return -EINVAL;
	}

	if (length > UINT16_MAX) {
		return -EMSGSIZE;
	}

	k_mutex_lock(&transport_lock, K_FOREVER);
	if ((active_conn == NULL) || !notifications_enabled) {
		k_mutex_unlock(&transport_lock);
		return -ENOTCONN;
	}

	connection = bt_conn_ref(active_conn);
	k_mutex_unlock(&transport_lock);

	ret = bt_nus_send(connection, data, (uint16_t)length);
	bt_conn_unref(connection);

	return ret;
}
```

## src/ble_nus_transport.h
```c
#ifndef BLE_NUS_TRANSPORT_H_
#define BLE_NUS_TRANSPORT_H_

#include <stdbool.h>
#include <stddef.h>
#include <stdint.h>

#ifdef __cplusplus
extern "C" {
#endif

/* 初始化Bluetooth协议栈、NUS服务并开始可连接广播。 */
int ble_nus_transport_init(void);

/* 已连接且主机已经订阅NUS TX通知时返回true。 */
bool ble_nus_transport_is_ready(void);

/*
 * 通过NUS TX特征发送一帧原始二进制数据。
 * 返回0：通知已提交。
 * 返回-ENOTCONN：尚未连接或主机尚未订阅通知。
 */
int ble_nus_transport_send(const uint8_t *data, size_t length);

#ifdef __cplusplus
}
#endif

#endif /* BLE_NUS_TRANSPORT_H_ */
```

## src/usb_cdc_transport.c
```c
#include "usb_cdc_transport.h"

#include <zephyr/device.h>
#include <zephyr/drivers/uart.h>
#include <zephyr/kernel.h>
#include <zephyr/sys/printk.h>
#include <zephyr/sys/util.h>
#include <zephyr/usb/usbd.h>

#include <errno.h>

#define USB_DEVICE_VID          0x1915
#define USB_DEVICE_PID          0xEC01
#define USB_DEVICE_MANUFACTURER "Wireless ECU"
#define USB_DEVICE_PRODUCT      "ECU Console CDC"

BUILD_ASSERT(DT_NODE_HAS_STATUS(DT_NODELABEL(usbd), okay),
	     "USB device controller is missing or disabled");
BUILD_ASSERT(DT_NODE_HAS_STATUS(DT_NODELABEL(cdc_acm_uart0), okay),
	     "cdc_acm_uart0 is missing or disabled");

USBD_DEVICE_DEFINE(ecu_usbd,
		   DEVICE_DT_GET(DT_NODELABEL(usbd)),
		   USB_DEVICE_VID,
		   USB_DEVICE_PID);

USBD_DESC_LANG_DEFINE(ecu_usb_lang);
USBD_DESC_MANUFACTURER_DEFINE(ecu_usb_manufacturer,
			      USB_DEVICE_MANUFACTURER);
USBD_DESC_PRODUCT_DEFINE(ecu_usb_product,
			 USB_DEVICE_PRODUCT);

USBD_DESC_CONFIG_DEFINE(ecu_usb_fs_cfg_desc, "FS Configuration");
USBD_CONFIGURATION_DEFINE(ecu_usb_fs_config,
			  0,
			  250,
			  &ecu_usb_fs_cfg_desc);

static const struct device *const cdc_dev =
	DEVICE_DT_GET(DT_NODELABEL(cdc_acm_uart0));

static const char *const class_blocklist[] = {
	NULL,
};

static volatile bool usb_stack_enabled;
static volatile bool usb_configured;
static volatile bool usb_dtr_asserted;
static volatile bool usb_suspended;

static int usb_stack_enable(void)
{
	int ret;

	if (usb_stack_enabled) {
		return 0;
	}

	ret = usbd_enable(&ecu_usbd);
	if (ret == 0) {
		usb_stack_enabled = true;
		printk("USB CDC stack enabled\n");
	}

	return ret;
}

static void usb_message_callback(
	struct usbd_context *const usbd_context,
	const struct usbd_msg *const message)
{
	ARG_UNUSED(usbd_context);

	if (message->type == USBD_MSG_CDC_ACM_CONTROL_LINE_STATE) {
		uint32_t dtr = 0U;
		int ret;

		if (message->dev != cdc_dev) {
			return;
		}

		ret = uart_line_ctrl_get(
			cdc_dev,
			UART_LINE_CTRL_DTR,
			&dtr);
		if (ret < 0) {
			printk("ERROR: USB CDC DTR read failed: %d\n", ret);
			return;
		}

		usb_dtr_asserted = dtr != 0U;
		printk("USB CDC host: %s\n",
		       usb_dtr_asserted ? "CONNECTED" : "DISCONNECTED");
		return;
	}

	switch (message->type) {
	case USBD_MSG_VBUS_READY:
		if (!usb_stack_enabled) {
			int ret = usb_stack_enable();

			if (ret < 0) {
				printk("ERROR: USB CDC enable failed: %d\n", ret);
			}
		}
		break;

	case USBD_MSG_VBUS_REMOVED:
		usb_dtr_asserted = false;
		usb_configured = false;
		usb_suspended = false;

		if (usb_stack_enabled) {
			int ret = usbd_disable(&ecu_usbd);

			if (ret < 0) {
				printk("ERROR: USB CDC disable failed: %d\n", ret);
			} else {
				usb_stack_enabled = false;
			}
		}
		break;

	case USBD_MSG_CONFIGURATION:
		usb_configured = message->status != 0U;
		if (!usb_configured) {
			usb_dtr_asserted = false;
		}
		printk("USB CDC configuration: %s\n",
		       usb_configured ? "ACTIVE" : "INACTIVE");
		break;

	case USBD_MSG_SUSPEND:
		usb_suspended = true;
		break;

	case USBD_MSG_RESUME:
		usb_suspended = false;
		break;

	default:
		break;
	}
}

static int usb_descriptors_init(void)
{
	int ret;

	ret = usbd_add_descriptor(&ecu_usbd, &ecu_usb_lang);
	if (ret < 0) {
		return ret;
	}

	ret = usbd_add_descriptor(&ecu_usbd, &ecu_usb_manufacturer);
	if (ret < 0) {
		return ret;
	}

	ret = usbd_add_descriptor(&ecu_usbd, &ecu_usb_product);
	if (ret < 0) {
		return ret;
	}

	ret = usbd_add_configuration(
		&ecu_usbd,
		USBD_SPEED_FS,
		&ecu_usb_fs_config);
	if (ret < 0) {
		return ret;
	}

	ret = usbd_register_all_classes(
		&ecu_usbd,
		USBD_SPEED_FS,
		1,
		class_blocklist);
	if (ret < 0) {
		return ret;
	}

	return usbd_device_set_code_triple(
		&ecu_usbd,
		USBD_SPEED_FS,
		0,
		0,
		0);
}

int usb_cdc_transport_init(void)
{
	int ret;

	if (!device_is_ready(cdc_dev)) {
		printk("ERROR: USB CDC device is not ready\n");
		return -ENODEV;
	}

	usb_stack_enabled = false;
	usb_configured = false;
	usb_dtr_asserted = false;
	usb_suspended = false;

	ret = usbd_msg_register_cb(&ecu_usbd, usb_message_callback);
	if (ret < 0) {
		printk("ERROR: USB callback registration failed: %d\n", ret);
		return ret;
	}

	ret = usb_descriptors_init();
	if (ret < 0) {
		printk("ERROR: USB descriptor setup failed: %d\n", ret);
		return ret;
	}

	ret = usbd_init(&ecu_usbd);
	if (ret < 0) {
		printk("ERROR: USB stack initialization failed: %d\n", ret);
		return ret;
	}

	/*
	 * nRF52840支持VBUS检测时，VBUS_READY回调负责启用协议栈。
	 * 对不支持VBUS检测的控制器，在这里直接启用。
	 */
	if (!usbd_can_detect_vbus(&ecu_usbd)) {
		ret = usb_stack_enable();
		if (ret < 0) {
			printk("ERROR: USB stack enable failed: %d\n", ret);
			return ret;
		}
	}

	printk("USB CDC initialized; waiting for COM port DTR\n");
	return 0;
}

bool usb_cdc_transport_is_ready(void)
{
	return usb_stack_enabled &&
	       usb_configured &&
	       usb_dtr_asserted &&
	       !usb_suspended;
}

int usb_cdc_transport_send(const uint8_t *data, size_t length)
{
	if ((data == NULL) && (length != 0U)) {
		return -EINVAL;
	}

	if (!usb_cdc_transport_is_ready()) {
		return -ENOTCONN;
	}

	for (size_t i = 0; i < length; i++) {
		uart_poll_out(cdc_dev, data[i]);
	}

	return 0;
}
```

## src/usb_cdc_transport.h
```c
#ifndef USB_CDC_TRANSPORT_H_
#define USB_CDC_TRANSPORT_H_

#include <stdbool.h>
#include <stddef.h>
#include <stdint.h>

#ifdef __cplusplus
extern "C" {
#endif

/*
 * 初始化USB Device Next协议栈和CDC ACM接口。
 * 设备会在Windows中枚举成一个虚拟COM端口。
 */
int usb_cdc_transport_init(void);

/* 主机已经打开COM端口并置位DTR时返回true。 */
bool usb_cdc_transport_is_ready(void);

/*
 * 发送一帧原始二进制数据。
 * 返回0：发送完成。
 * 返回-ENOTCONN：COM端口尚未打开或DTR尚未置位。
 */
int usb_cdc_transport_send(const uint8_t *data, size_t length);

#ifdef __cplusplus
}
#endif

#endif /* USB_CDC_TRANSPORT_H_ */
```

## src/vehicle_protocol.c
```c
#include "vehicle_protocol.h"

enum vehicle_status_frame_offset {
	FRAME_OFFSET_SOF0 = 0,
	FRAME_OFFSET_SOF1 = 1,
	FRAME_OFFSET_VERSION = 2,
	FRAME_OFFSET_TYPE = 3,
	FRAME_OFFSET_SEQUENCE = 4,
	FRAME_OFFSET_PAYLOAD_LENGTH = 6,
	FRAME_OFFSET_RPM = 7,
	FRAME_OFFSET_TEMPERATURE = 9,
	FRAME_OFFSET_STATE = 11,
	FRAME_OFFSET_FLAGS = 12,
	FRAME_OFFSET_CRC = 13,
};

static void put_u16_le(uint8_t *destination, uint16_t value)
{
	destination[0] = (uint8_t)(value & 0xFFU);
	destination[1] = (uint8_t)((value >> 8) & 0xFFU);
}

uint16_t vehicle_protocol_crc16_ccitt_false(
	const uint8_t *data,
	size_t length)
{
	uint16_t crc = 0xFFFFU;

	if (data == NULL) {
		return 0U;
	}

	for (size_t i = 0; i < length; i++) {
		crc ^= (uint16_t)data[i] << 8;

		for (uint8_t bit = 0; bit < 8U; bit++) {
			if ((crc & 0x8000U) != 0U) {
				crc = (uint16_t)((crc << 1) ^ 0x1021U);
			} else {
				crc <<= 1;
			}
		}
	}

	return crc;
}

size_t vehicle_protocol_encode_status(
	uint8_t *frame,
	size_t frame_capacity,
	const struct vehicle_status_message *message)
{
	uint16_t crc;
	uint16_t temperature_bits;

	if ((frame == NULL) || (message == NULL) ||
	    (frame_capacity < VEHICLE_STATUS_FRAME_SIZE)) {
		return 0U;
	}

	frame[FRAME_OFFSET_SOF0] = VEHICLE_PROTOCOL_SOF0;
	frame[FRAME_OFFSET_SOF1] = VEHICLE_PROTOCOL_SOF1;
	frame[FRAME_OFFSET_VERSION] = VEHICLE_PROTOCOL_VERSION;
	frame[FRAME_OFFSET_TYPE] = VEHICLE_MSG_STATUS;
	put_u16_le(&frame[FRAME_OFFSET_SEQUENCE], message->sequence);
	frame[FRAME_OFFSET_PAYLOAD_LENGTH] = VEHICLE_STATUS_PAYLOAD_SIZE;
	put_u16_le(&frame[FRAME_OFFSET_RPM], message->rpm);

	temperature_bits = (uint16_t)message->temperature_c;
	put_u16_le(&frame[FRAME_OFFSET_TEMPERATURE], temperature_bits);

	frame[FRAME_OFFSET_STATE] = message->state;
	frame[FRAME_OFFSET_FLAGS] =
		message->fault_active ?
			VEHICLE_STATUS_FLAG_FAULT_ACTIVE : 0U;

	/* CRC覆盖Version到Payload末尾，不覆盖SOF和CRC自身。 */
	crc = vehicle_protocol_crc16_ccitt_false(
		&frame[FRAME_OFFSET_VERSION],
		FRAME_OFFSET_CRC - FRAME_OFFSET_VERSION);
	put_u16_le(&frame[FRAME_OFFSET_CRC], crc);

	return VEHICLE_STATUS_FRAME_SIZE;
}
```

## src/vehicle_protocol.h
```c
#ifndef VEHICLE_PROTOCOL_H_
#define VEHICLE_PROTOCOL_H_

#include <stdbool.h>
#include <stddef.h>
#include <stdint.h>

#ifdef __cplusplus
extern "C" {
#endif

#define VEHICLE_PROTOCOL_SOF0              0x55U
#define VEHICLE_PROTOCOL_SOF1              0xAAU
#define VEHICLE_PROTOCOL_VERSION           0x01U

#define VEHICLE_MSG_STATUS                 0x10U
#define VEHICLE_STATUS_PAYLOAD_SIZE        6U
#define VEHICLE_STATUS_FRAME_SIZE         15U

#define VEHICLE_STATUS_FLAG_FAULT_ACTIVE   0x01U

struct vehicle_status_message {
	uint16_t sequence;
	uint16_t rpm;
	int16_t temperature_c;
	uint8_t state;
	bool fault_active;
};

uint16_t vehicle_protocol_crc16_ccitt_false(
	const uint8_t *data,
	size_t length);

size_t vehicle_protocol_encode_status(
	uint8_t *frame,
	size_t frame_capacity,
	const struct vehicle_status_message *message);

#ifdef __cplusplus
}
#endif

#endif /* VEHICLE_PROTOCOL_H_ */
```
